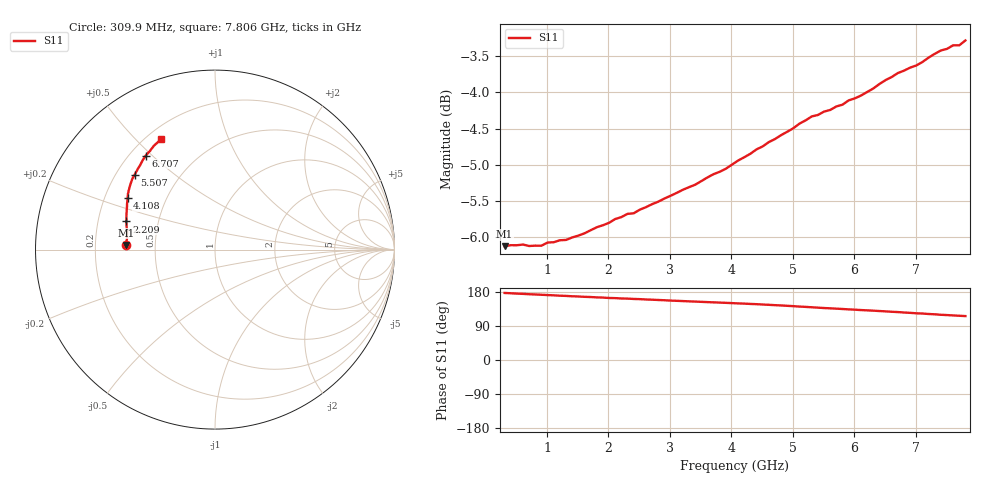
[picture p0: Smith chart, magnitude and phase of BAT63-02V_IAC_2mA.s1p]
! Infineon Technologies  Discrete & RF Semiconductors
! BAT63-02V
! IAC = 2 mA
! One-Port S-Parameters
# Hz  S  MA  R  50
!f  S11
!Hz  Mag  Ang
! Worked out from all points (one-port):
!   76 points, 309.9 MHz to 7.806 GHz, reference 50 ohm
!   lowest |S11| = -6.1 dB at 309.9 MHz (marker M1), VSWR 2.95, Z = 16.9 + j1.19 ohm
!   |S11| at or under -10 dB: nowhere
!   S11 on the Smith chart (normalised r, x): 309.9 MHz: 0.34, +0.02; 2.209 GHz: 0.32, +0.14; 4.108 GHz: 0.30, +0.25; 5.507 GHz: 0.28, +0.37; 6.707 GHz: 0.26, +0.48; 7.806 GHz: 0.26, +0.60
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3.0985e8  0.4942 176.9
9.0955e8  0.4946 172.2
1.30935e9  0.4991 169.1
1.90905e9  0.5109 164.7
2.009e9  0.5129 163.7
2.10895e9  0.516 163.3
2.2089e9  0.5175 162.4
2.30885e9  0.5202 162.0
2.4088e9  0.5206 161.1
2.50875e9  0.5237 160.6
3.2084e9  0.5404 155.5
4.10795e9  0.5661 149.4
4.4078e9  0.5763 147.3
5.0075e9  0.596 142.1
5.10745e9  0.6004 141.0
5.30735e9  0.6072 139.1
5.50725e9  0.6119 137.1
6.007e9  0.6249 132.8
6.70665e9  0.6505 126.5
6.90655e9  0.6561 124.4
7.0065e9  0.6584 123.2
7.10645e9  0.662 122.6
7.2064e9  0.6666 121.4
7.30635e9  0.6706 120.6
7.4063e9  0.6742 119.4
7.6062e9  0.6798 117.6
7.70615e9  0.6798 116.7
7.8061e9  0.6851 115.9
